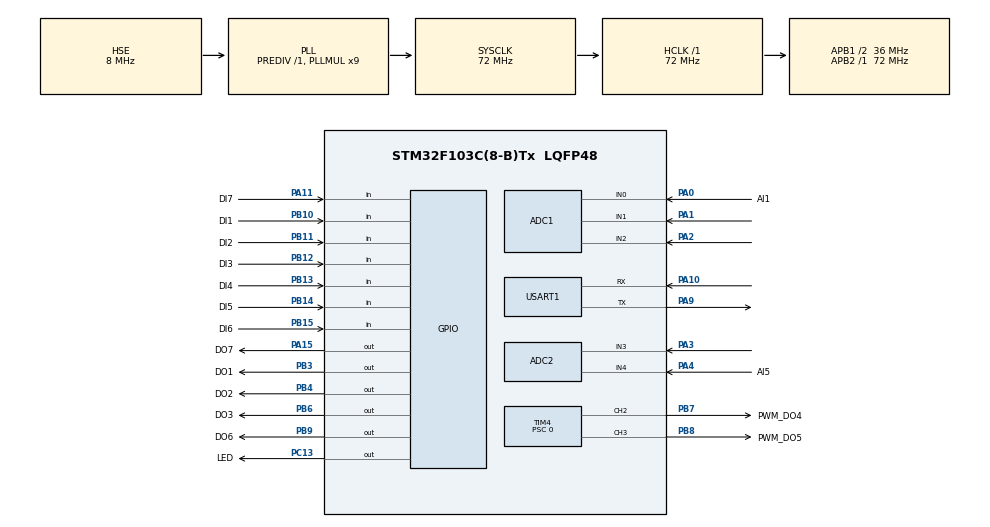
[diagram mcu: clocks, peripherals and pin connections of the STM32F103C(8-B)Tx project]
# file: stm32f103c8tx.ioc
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ADC1.Channel-7\#ChannelInjectedConversion=ADC_CHANNEL_0
ADC1.Channel-8\#ChannelInjectedConversion=ADC_CHANNEL_1
ADC1.Channel-9\#ChannelInjectedConversion=ADC_CHANNEL_2
ADC1.ContinuousConvMode=ENABLE
ADC1.EnableInjectedConversion=ENABLE
ADC1.EnableRegularConversion=DISABLE
ADC1.InjNumberOfConversion=3
ADC1.InjectedOffset-7\#ChannelInjectedConversion=0
ADC1.InjectedOffset-8\#ChannelInjectedConversion=0
ADC1.InjectedOffset-9\#ChannelInjectedConversion=0
ADC1.Rank-7\#ChannelInjectedConversion=1
ADC1.Rank-8\#ChannelInjectedConversion=2
ADC1.Rank-9\#ChannelInjectedConversion=3
ADC1.SamplingTime-7\#ChannelInjectedConversion=ADC_SAMPLETIME_13CYCLES_5
ADC1.SamplingTime-8\#ChannelInjectedConversion=ADC_SAMPLETIME_13CYCLES_5
ADC1.SamplingTime-9\#ChannelInjectedConversion=ADC_SAMPLETIME_13CYCLES_5
ADC1.master=1
ADC2.Channel-1\#ChannelInjectedConversion=ADC_CHANNEL_3
ADC2.Channel-2\#ChannelInjectedConversion=ADC_CHANNEL_4
ADC2.ContinuousConvMode=ENABLE
ADC2.EnableInjectedConversion=ENABLE
ADC2.EnableRegularConversion=DISABLE
ADC2.InjNumberOfConversion=2
ADC2.InjectedOffset-1\#ChannelInjectedConversion=0
ADC2.InjectedOffset-2\#ChannelInjectedConversion=0
ADC2.Rank-1\#ChannelInjectedConversion=1
ADC2.Rank-2\#ChannelInjectedConversion=2
ADC2.SamplingTime-1\#ChannelInjectedConversion=ADC_SAMPLETIME_13CYCLES_5
ADC2.SamplingTime-2\#ChannelInjectedConversion=ADC_SAMPLETIME_13CYCLES_5
FREERTOS.Tasks01=defaultTask,24,128,StartDefaultTask,Default,NULL,Dynamic,NULL,NULL;myTaskGpio,8,128,StartTask02,Default,NULL,Dynamic,NULL,NULL
Mcu.Family=STM32F1
Mcu.Name=STM32F103C(8-B)Tx
Mcu.Package=LQFP48
NVIC.PriorityGroup=NVIC_PRIORITYGROUP_4
NVIC.TIM1_CC_IRQn=true\:5\:0\:false\:false\:true\:true\:true\:true
NVIC.TIM1_UP_IRQn=true\:5\:0\:false\:false\:true\:true\:true\:true
NVIC.TIM2_IRQn=true\:0\:0\:false\:false\:true\:false\:false\:true
NVIC.TIM4_IRQn=true\:5\:0\:false\:false\:true\:true\:true\:true
NVIC.TimeBase=TIM2_IRQn
NVIC.TimeBaseIP=TIM2
NVIC.USART1_IRQn=true\:5\:0\:false\:false\:true\:true\:true\:true
PA0-WKUP.GPIO_Label=AI1
PA0-WKUP.Signal=ADCx_IN0
PA1.Signal=ADCx_IN1
PA10.Mode=Asynchronous
PA10.Signal=USART1_RX
PA11.GPIO_Label=DI7
PA11.Signal=GPIO_Input
PA13.Mode=Serial_Wire
PA13.Signal=SYS_JTMS-SWDIO
PA14.Mode=Serial_Wire
PA14.Signal=SYS_JTCK-SWCLK
PA15.GPIO_Label=DO7
PA15.Signal=GPIO_Output
PA2.Signal=ADCx_IN2
PA3.Signal=ADCx_IN3
PA4.GPIO_Label=AI5
PA4.Signal=ADCx_IN4
PA9.Mode=Asynchronous
PA9.Signal=USART1_TX
PB10.GPIO_Label=DI1
PB10.Signal=GPIO_Input
PB11.GPIO_Label=DI2
PB11.Signal=GPIO_Input
PB12.GPIO_Label=DI3
PB12.Signal=GPIO_Input
PB13.GPIO_Label=DI4
PB13.Signal=GPIO_Input
PB14.GPIO_Label=DI5
PB14.Signal=GPIO_Input
PB15.GPIO_Label=DI6
PB15.Signal=GPIO_Input
PB3.GPIO_Label=DO1
PB3.Signal=GPIO_Output
PB4.GPIO_Label=DO2
PB4.Signal=GPIO_Output
PB6.GPIO_Label=DO3
PB6.Signal=GPIO_Output
PB7.GPIO_Label=PWM_DO4
PB7.GPIO_Speed=GPIO_SPEED_FREQ_HIGH
PB7.Signal=S_TIM4_CH2
PB8.GPIO_Label=PWM_DO5
PB8.GPIO_Speed=GPIO_SPEED_FREQ_HIGH
PB8.Signal=S_TIM4_CH3
PB9.GPIO_Label=DO6
PB9.Signal=GPIO_Output
PC13-TAMPER-RTC.GPIO_Label=LED
PC13-TAMPER-RTC.Signal=GPIO_Output
PD0-OSC_IN.Mode=HSE-External-Oscillator
PD0-OSC_IN.Signal=RCC_OSC_IN
PD1-OSC_OUT.Mode=HSE-External-Oscillator
PD1-OSC_OUT.Signal=RCC_OSC_OUT
ProjectManager.HeapSize=0x200
ProjectManager.StackSize=0x400
ProjectManager.TargetToolchain=TrueSTUDIO
RCC.ADCPresc=RCC_ADCPCLK2_DIV6
RCC.AHBFreq_Value=72000000
RCC.APB1CLKDivider=RCC_HCLK_DIV2
RCC.APB1Freq_Value=36000000
RCC.APB1TimFreq_Value=72000000
RCC.APB2Freq_Value=72000000
RCC.APB2TimFreq_Value=72000000
RCC.HCLKFreq_Value=72000000
RCC.PLLMUL=RCC_PLL_MUL9
RCC.PLLSourceVirtual=RCC_PLLSOURCE_HSE
RCC.SYSCLKFreq_VALUE=72000000
RCC.SYSCLKSource=RCC_SYSCLKSOURCE_PLLCLK
RCC.USBFreq_Value=72000000
SH.ADCx_IN0.0=ADC1_IN0,IN0
SH.ADCx_IN1.0=ADC1_IN1,IN1
SH.ADCx_IN2.0=ADC1_IN2,IN2
SH.ADCx_IN3.0=ADC2_IN3,IN3
SH.ADCx_IN4.0=ADC2_IN4,IN4
SH.S_TIM4_CH2.0=TIM4_CH2,PWM Generation2 CH2
SH.S_TIM4_CH3.0=TIM4_CH3,PWM Generation3 CH3
TIM1.Channel-Output\ Compare1\ No\ Output=TIM_CHANNEL_1
TIM1.Period=9999
TIM1.Prescaler=7199
TIM4.AutoReloadPreload=TIM_AUTORELOAD_PRELOAD_DISABLE
TIM4.Channel-PWM\ Generation2\ CH2=TIM_CHANNEL_2
TIM4.Channel-PWM\ Generation3\ CH3=TIM_CHANNEL_3
TIM4.ClockDivision=TIM_CLOCKDIVISION_DIV1
TIM4.CounterMode=TIM_COUNTERMODE_CENTERALIGNED2
TIM4.OC3Preload_PWM=ENABLE
TIM4.OCMode_PWM-PWM\ Generation2\ CH2=TIM_OCMODE_PWM1
TIM4.OCMode_PWM-PWM\ Generation3\ CH3=TIM_OCMODE_PWM2
TIM4.OCPolarity_2=TIM_OCPOLARITY_LOW
TIM4.OCPolarity_3=TIM_OCPOLARITY_LOW
TIM4.Period=599
TIM4.Prescaler=0
TIM4.Pulse-PWM\ Generation2\ CH2=600
TIM4.Pulse-PWM\ Generation3\ CH3=0
USART1.VirtualMode=VM_ASYNC
VP_FREERTOS_VS_CMSIS_V2.Mode=CMSIS_V2
VP_SYS_VS_tim2.Mode=TIM2
VP_TIM1_VS_ClockSourceINT.Mode=Internal
VP_TIM1_VS_no_output1.Mode=Output Compare1 No Output
VP_TIM4_VS_ClockSourceINT.Mode=Internal
board=custom

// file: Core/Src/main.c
/* USER CODE BEGIN Header */
/**
  ******************************************************************************
  * @file           : main.c
  * @brief          : Main program body
  ******************************************************************************
  * @attention
  *
  * <h2><center>&copy; Copyright (c) 2021 STMicroelectronics.
  * All rights reserved.</center></h2>
  *
  * This software component is licensed by ST under Ultimate Liberty license
  * SLA0044, the "License"; You may not use this file except in compliance with
  * the License. You may obtain a copy of the License at:
  *                             www.st.com/SLA0044
  *
  ******************************************************************************
  */
/* USER CODE END Header */
#include "main.h"
#include "cmsis_os.h"

ADC_HandleTypeDef hadc1;
ADC_HandleTypeDef hadc2;

TIM_HandleTypeDef htim1;
TIM_HandleTypeDef htim4;

UART_HandleTypeDef huart1;

/* Definitions for defaultTask */
osThreadId_t defaultTaskHandle;
const osThreadAttr_t defaultTask_attributes = {
  .name = "defaultTask",
  .stack_size = 128 * 4,
  .priority = (osPriority_t) osPriorityNormal,
};
/* Definitions for myTaskGpio */
osThreadId_t myTaskGpioHandle;
const osThreadAttr_t myTaskGpio_attributes = {
  .name = "myTaskGpio",
  .stack_size = 128 * 4,
  .priority = (osPriority_t) osPriorityLow,
};
/* USER CODE BEGIN PV */
//ПЕРЕМЕННЫЕ

modbusHandler_t ModbusH;
uint16_t ModbusDATA[10];
uint16_t shim=0;
uint16_t counter_pwm=600;
const uint16_t  i_nakal_min=3000,
				i4=0,
				u_dc_min=2980,
				u_dc_max=3350,
				t1=1860;
_Bool adc_enable=false;
//регистр модбас код ошибки
/* USER CODE END PV */

void SystemClock_Config(void);
static void MX_GPIO_Init(void);
static void MX_TIM4_Init(void);
static void MX_USART1_UART_Init(void);
static void MX_ADC1_Init(void);
static void MX_ADC2_Init(void);
static void MX_TIM1_Init(void);
void StartDefaultTask(void *argument);
void StartTask02(void *argument);

int main(void)
{

  /* MCU Configuration--------------------------------------------------------*/

  /* Reset of all peripherals, Initializes the Flash interface and the Systick. */
  HAL_Init();

  /* Configure the system clock */
  SystemClock_Config();

  /* Initialize all configured peripherals */
  MX_GPIO_Init();
  MX_TIM4_Init();
  MX_USART1_UART_Init();
  MX_ADC1_Init();
  MX_ADC2_Init();
  MX_TIM1_Init();
  /* USER CODE BEGIN 2 */
  //ИНИЦИАЛИЗАЦИЯ
  ModbusH.uiModbusType = SLAVE_RTU;
  ModbusH.port =  &huart1;
  ModbusH.u8id = 01; //Modbus slave ID
  ModbusH.u16timeOut = 1000;
  ModbusH.EN_Port = NULL;
  ModbusH.u32overTime = 0;
  ModbusH.au16regs = ModbusDATA;
  ModbusH.u16regsize= sizeof(ModbusDATA)/sizeof(ModbusDATA[0]);
  //Initialize Modbus library
  ModbusInit(&ModbusH);
  //Start capturing traffic on serial Port
  ModbusStart(&ModbusH);

  HAL_GPIO_WritePin(DO6_GPIO_Port, DO6_Pin, GPIO_PIN_SET);
  HAL_GPIO_WritePin(GPIOC, GPIO_PIN_13,GPIO_PIN_RESET);
  HAL_Delay(1000);
  HAL_GPIO_WritePin(GPIOC, GPIO_PIN_13,GPIO_PIN_SET);
  HAL_GPIO_WritePin(DO6_GPIO_Port, DO6_Pin, GPIO_PIN_RESET);

  HAL_TIM_OC_Start_IT(&htim4, TIM_CHANNEL_2);
  HAL_TIM_OC_Start_IT(&htim4, TIM_CHANNEL_3);
  HAL_ADCEx_Calibration_Start(&hadc1);
  HAL_ADCEx_Calibration_Start(&hadc2);
  /* USER CODE END 2 */

  /* Init scheduler */
  osKernelInitialize();

  /* Create the thread(s) */
  /* creation of defaultTask */
  defaultTaskHandle = osThreadNew(StartDefaultTask, NULL, &defaultTask_attributes);

  /* creation of myTaskGpio */
  myTaskGpioHandle = osThreadNew(StartTask02, NULL, &myTaskGpio_attributes);

  /* Start scheduler */
  osKernelStart();

  /* We should never get here as control is now taken by the scheduler */
  /* Infinite loop */
  while (1)
  {

  }
}

void SystemClock_Config(void)
{
  RCC_OscInitTypeDef RCC_OscInitStruct = {0};
  RCC_ClkInitTypeDef RCC_ClkInitStruct = {0};
  RCC_PeriphCLKInitTypeDef PeriphClkInit = {0};

  /** Initializes the RCC Oscillators according to the specified parameters
  * in the RCC_OscInitTypeDef structure.
  */
  RCC_OscInitStruct.OscillatorType = RCC_OSCILLATORTYPE_HSE;
  RCC_OscInitStruct.HSEState = RCC_HSE_ON;
  RCC_OscInitStruct.HSEPredivValue = RCC_HSE_PREDIV_DIV1;
  RCC_OscInitStruct.HSIState = RCC_HSI_ON;
  RCC_OscInitStruct.PLL.PLLState = RCC_PLL_ON;
  RCC_OscInitStruct.PLL.PLLSource = RCC_PLLSOURCE_HSE;
  RCC_OscInitStruct.PLL.PLLMUL = RCC_PLL_MUL9;
  if (HAL_RCC_OscConfig(&RCC_OscInitStruct) != HAL_OK)
  {
    Error_Handler();
  }
  /** Initializes the CPU, AHB and APB buses clocks
  */
  RCC_ClkInitStruct.ClockType = RCC_CLOCKTYPE_HCLK|RCC_CLOCKTYPE_SYSCLK
                              |RCC_CLOCKTYPE_PCLK1|RCC_CLOCKTYPE_PCLK2;
  RCC_ClkInitStruct.SYSCLKSource = RCC_SYSCLKSOURCE_PLLCLK;
  RCC_ClkInitStruct.AHBCLKDivider = RCC_SYSCLK_DIV1;
  RCC_ClkInitStruct.APB1CLKDivider = RCC_HCLK_DIV2;
  RCC_ClkInitStruct.APB2CLKDivider = RCC_HCLK_DIV1;

  if (HAL_RCC_ClockConfig(&RCC_ClkInitStruct, FLASH_LATENCY_2) != HAL_OK)
  {
    Error_Handler();
  }
  PeriphClkInit.PeriphClockSelection = RCC_PERIPHCLK_ADC;
  PeriphClkInit.AdcClockSelection = RCC_ADCPCLK2_DIV6;
  if (HAL_RCCEx_PeriphCLKConfig(&PeriphClkInit) != HAL_OK)
  {
    Error_Handler();
  }
}

static void MX_ADC1_Init(void)
{

  ADC_InjectionConfTypeDef sConfigInjected = {0};

  /** Common config
  */
  hadc1.Instance = ADC1;
  hadc1.Init.ScanConvMode = ADC_SCAN_ENABLE;
  hadc1.Init.ContinuousConvMode = ENABLE;
  hadc1.Init.DiscontinuousConvMode = DISABLE;
  hadc1.Init.ExternalTrigConv = ADC_SOFTWARE_START;
  hadc1.Init.DataAlign = ADC_DATAALIGN_RIGHT;
  hadc1.Init.NbrOfConversion = 1;
  if (HAL_ADC_Init(&hadc1) != HAL_OK)
  {
    Error_Handler();
  }
  /** Configure Injected Channel
  */
  sConfigInjected.InjectedChannel = ADC_CHANNEL_0;
  sConfigInjected.InjectedRank = ADC_INJECTED_RANK_1;
  sConfigInjected.InjectedNbrOfConversion = 3;
  sConfigInjected.InjectedSamplingTime = ADC_SAMPLETIME_13CYCLES_5;
  sConfigInjected.ExternalTrigInjecConv = ADC_INJECTED_SOFTWARE_START;
  sConfigInjected.AutoInjectedConv = DISABLE;
  sConfigInjected.InjectedDiscontinuousConvMode = DISABLE;
  sConfigInjected.InjectedOffset = 0;
  if (HAL_ADCEx_InjectedConfigChannel(&hadc1, &sConfigInjected) != HAL_OK)
  {
    Error_Handler();
  }
  /** Configure Injected Channel
  */
  sConfigInjected.InjectedChannel = ADC_CHANNEL_1;
  sConfigInjected.InjectedRank = ADC_INJECTED_RANK_2;
  if (HAL_ADCEx_InjectedConfigChannel(&hadc1, &sConfigInjected) != HAL_OK)
  {
    Error_Handler();
  }
  /** Configure Injected Channel
  */
  sConfigInjected.InjectedChannel = ADC_CHANNEL_2;
  sConfigInjected.InjectedRank = ADC_INJECTED_RANK_3;
  if (HAL_ADCEx_InjectedConfigChannel(&hadc1, &sConfigInjected) != HAL_OK)
  {
    Error_Handler();
  }

}

static void MX_ADC2_Init(void)
{

  ADC_InjectionConfTypeDef sConfigInjected = {0};

  /** Common config
  */
  hadc2.Instance = ADC2;
  hadc2.Init.ScanConvMode = ADC_SCAN_ENABLE;
  hadc2.Init.ContinuousConvMode = ENABLE;
  hadc2.Init.DiscontinuousConvMode = DISABLE;
  hadc2.Init.ExternalTrigConv = ADC_SOFTWARE_START;
  hadc2.Init.DataAlign = ADC_DATAALIGN_RIGHT;
  hadc2.Init.NbrOfConversion = 1;
  if (HAL_ADC_Init(&hadc2) != HAL_OK)
  {
    Error_Handler();
  }
  /** Configure Injected Channel
  */
  sConfigInjected.InjectedChannel = ADC_CHANNEL_3;
  sConfigInjected.InjectedRank = ADC_INJECTED_RANK_1;
  sConfigInjected.InjectedNbrOfConversion = 2;
  sConfigInjected.InjectedSamplingTime = ADC_SAMPLETIME_13CYCLES_5;
  sConfigInjected.ExternalTrigInjecConv = ADC_INJECTED_SOFTWARE_START;
  sConfigInjected.AutoInjectedConv = DISABLE;
  sConfigInjected.InjectedDiscontinuousConvMode = DISABLE;
  sConfigInjected.InjectedOffset = 0;
  if (HAL_ADCEx_InjectedConfigChannel(&hadc2, &sConfigInjected) != HAL_OK)
  {
    Error_Handler();
  }
  /** Configure Injected Channel
  */
  sConfigInjected.InjectedChannel = ADC_CHANNEL_4;
  sConfigInjected.InjectedRank = ADC_INJECTED_RANK_2;
  if (HAL_ADCEx_InjectedConfigChannel(&hadc2, &sConfigInjected) != HAL_OK)
  {
    Error_Handler();
  }

}

static void MX_TIM1_Init(void)
{

  TIM_ClockConfigTypeDef sClockSourceConfig = {0};
  TIM_MasterConfigTypeDef sMasterConfig = {0};
  TIM_OC_InitTypeDef sConfigOC = {0};
  TIM_BreakDeadTimeConfigTypeDef sBreakDeadTimeConfig = {0};

  htim1.Instance = TIM1;
  htim1.Init.Prescaler = 7199;
  htim1.Init.CounterMode = TIM_COUNTERMODE_UP;
  htim1.Init.Period = 9999;
  htim1.Init.ClockDivision = TIM_CLOCKDIVISION_DIV1;
  htim1.Init.RepetitionCounter = 0;
  htim1.Init.AutoReloadPreload = TIM_AUTORELOAD_PRELOAD_DISABLE;
  if (HAL_TIM_Base_Init(&htim1) != HAL_OK)
  {
    Error_Handler();
  }
  sClockSourceConfig.ClockSource = TIM_CLOCKSOURCE_INTERNAL;
  if (HAL_TIM_ConfigClockSource(&htim1, &sClockSourceConfig) != HAL_OK)
  {
    Error_Handler();
  }
  if (HAL_TIM_OC_Init(&htim1) != HAL_OK)
  {
    Error_Handler();
  }
  sMasterConfig.MasterOutputTrigger = TIM_TRGO_RESET;
  sMasterConfig.MasterSlaveMode = TIM_MASTERSLAVEMODE_DISABLE;
  if (HAL_TIMEx_MasterConfigSynchronization(&htim1, &sMasterConfig) != HAL_OK)
  {
    Error_Handler();
  }
  sConfigOC.OCMode = TIM_OCMODE_TIMING;
  sConfigOC.Pulse = 0;
  sConfigOC.OCPolarity = TIM_OCPOLARITY_HIGH;
  sConfigOC.OCNPolarity = TIM_OCNPOLARITY_HIGH;
  sConfigOC.OCFastMode = TIM_OCFAST_DISABLE;
  sConfigOC.OCIdleState = TIM_OCIDLESTATE_RESET;
  sConfigOC.OCNIdleState = TIM_OCNIDLESTATE_RESET;
  if (HAL_TIM_OC_ConfigChannel(&htim1, &sConfigOC, TIM_CHANNEL_1) != HAL_OK)
  {
    Error_Handler();
  }
  sBreakDeadTimeConfig.OffStateRunMode = TIM_OSSR_DISABLE;
  sBreakDeadTimeConfig.OffStateIDLEMode = TIM_OSSI_DISABLE;
  sBreakDeadTimeConfig.LockLevel = TIM_LOCKLEVEL_OFF;
  sBreakDeadTimeConfig.DeadTime = 0;
  sBreakDeadTimeConfig.BreakState = TIM_BREAK_DISABLE;
  sBreakDeadTimeConfig.BreakPolarity = TIM_BREAKPOLARITY_HIGH;
  sBreakDeadTimeConfig.AutomaticOutput = TIM_AUTOMATICOUTPUT_DISABLE;
  if (HAL_TIMEx_ConfigBreakDeadTime(&htim1, &sBreakDeadTimeConfig) != HAL_OK)
  {
    Error_Handler();
  }

}

static void MX_TIM4_Init(void)
{

  TIM_ClockConfigTypeDef sClockSourceConfig = {0};
  TIM_MasterConfigTypeDef sMasterConfig = {0};
  TIM_OC_InitTypeDef sConfigOC = {0};

  htim4.Instance = TIM4;
  htim4.Init.Prescaler = 0;
  htim4.Init.CounterMode = TIM_COUNTERMODE_CENTERALIGNED2;
  htim4.Init.Period = 599;
  htim4.Init.ClockDivision = TIM_CLOCKDIVISION_DIV1;
  htim4.Init.AutoReloadPreload = TIM_AUTORELOAD_PRELOAD_DISABLE;
  if (HAL_TIM_Base_Init(&htim4) != HAL_OK)
  {
    Error_Handler();
  }
  sClockSourceConfig.ClockSource = TIM_CLOCKSOURCE_INTERNAL;
  if (HAL_TIM_ConfigClockSource(&htim4, &sClockSourceConfig) != HAL_OK)
  {
    Error_Handler();
  }
  if (HAL_TIM_PWM_Init(&htim4) != HAL_OK)
  {
    Error_Handler();
  }
  sMasterConfig.MasterOutputTrigger = TIM_TRGO_RESET;
  sMasterConfig.MasterSlaveMode = TIM_MASTERSLAVEMODE_DISABLE;
  if (HAL_TIMEx_MasterConfigSynchronization(&htim4, &sMasterConfig) != HAL_OK)
  {
    Error_Handler();
  }
  sConfigOC.OCMode = TIM_OCMODE_PWM1;
  sConfigOC.Pulse = 600;
  sConfigOC.OCPolarity = TIM_OCPOLARITY_LOW;
  sConfigOC.OCFastMode = TIM_OCFAST_DISABLE;
  if (HAL_TIM_PWM_ConfigChannel(&htim4, &sConfigOC, TIM_CHANNEL_2) != HAL_OK)
  {
    Error_Handler();
  }
  sConfigOC.OCMode = TIM_OCMODE_PWM2;
  sConfigOC.Pulse = 0;
  if (HAL_TIM_PWM_ConfigChannel(&htim4, &sConfigOC, TIM_CHANNEL_3) != HAL_OK)
  {
    Error_Handler();
  }
  HAL_TIM_MspPostInit(&htim4);

}

static void MX_USART1_UART_Init(void)
{

  huart1.Instance = USART1;
  huart1.Init.BaudRate = 115200;
  huart1.Init.WordLength = UART_WORDLENGTH_8B;
  huart1.Init.StopBits = UART_STOPBITS_1;
  huart1.Init.Parity = UART_PARITY_NONE;
  huart1.Init.Mode = UART_MODE_TX_RX;
  huart1.Init.HwFlowCtl = UART_HWCONTROL_NONE;
  huart1.Init.OverSampling = UART_OVERSAMPLING_16;
  if (HAL_UART_Init(&huart1) != HAL_OK)
  {
    Error_Handler();
  }

}

static void MX_GPIO_Init(void)
{
  GPIO_InitTypeDef GPIO_InitStruct = {0};

  /* GPIO Ports Clock Enable */
  __HAL_RCC_GPIOC_CLK_ENABLE();
  __HAL_RCC_GPIOD_CLK_ENABLE();
  __HAL_RCC_GPIOA_CLK_ENABLE();
  __HAL_RCC_GPIOB_CLK_ENABLE();

  /*Configure GPIO pin Output Level */
  HAL_GPIO_WritePin(LED_GPIO_Port, LED_Pin, GPIO_PIN_RESET);

  /*Configure GPIO pin Output Level */
  HAL_GPIO_WritePin(DO7_GPIO_Port, DO7_Pin, GPIO_PIN_RESET);

  /*Configure GPIO pin Output Level */
  HAL_GPIO_WritePin(GPIOB, DO1_Pin|DO2_Pin|DO3_Pin|DO6_Pin, GPIO_PIN_RESET);

  /*Configure GPIO pin : LED_Pin */
  GPIO_InitStruct.Pin = LED_Pin;
  GPIO_InitStruct.Mode = GPIO_MODE_OUTPUT_PP;
  GPIO_InitStruct.Pull = GPIO_NOPULL;
  GPIO_InitStruct.Speed = GPIO_SPEED_FREQ_LOW;
  HAL_GPIO_Init(LED_GPIO_Port, &GPIO_InitStruct);

  /*Configure GPIO pins : DI1_Pin DI2_Pin DI3_Pin DI4_Pin
                           DI5_Pin DI6_Pin */
  GPIO_InitStruct.Pin = DI1_Pin|DI2_Pin|DI3_Pin|DI4_Pin
                          |DI5_Pin|DI6_Pin;
  GPIO_InitStruct.Mode = GPIO_MODE_INPUT;
  GPIO_InitStruct.Pull = GPIO_NOPULL;
  HAL_GPIO_Init(GPIOB, &GPIO_InitStruct);

  /*Configure GPIO pin : DI7_Pin */
  GPIO_InitStruct.Pin = DI7_Pin;
  GPIO_InitStruct.Mode = GPIO_MODE_INPUT;
  GPIO_InitStruct.Pull = GPIO_NOPULL;
  HAL_GPIO_Init(DI7_GPIO_Port, &GPIO_InitStruct);

  /*Configure GPIO pin : DO7_Pin */
  GPIO_InitStruct.Pin = DO7_Pin;
  GPIO_InitStruct.Mode = GPIO_MODE_OUTPUT_PP;
  GPIO_InitStruct.Pull = GPIO_NOPULL;
  GPIO_InitStruct.Speed = GPIO_SPEED_FREQ_LOW;
  HAL_GPIO_Init(DO7_GPIO_Port, &GPIO_InitStruct);

  /*Configure GPIO pins : DO1_Pin DO2_Pin DO3_Pin DO6_Pin */
  GPIO_InitStruct.Pin = DO1_Pin|DO2_Pin|DO3_Pin|DO6_Pin;
  GPIO_InitStruct.Mode = GPIO_MODE_OUTPUT_PP;
  GPIO_InitStruct.Pull = GPIO_NOPULL;
  GPIO_InitStruct.Speed = GPIO_SPEED_FREQ_LOW;
  HAL_GPIO_Init(GPIOB, &GPIO_InitStruct);

}

void StartDefaultTask(void *argument)
{
  /* USER CODE BEGIN 5 */
  /* Infinite loop */
  for(;;)
  {
	  //если поступил запрос с modbus
	  	  if ( ModbusDATA[0] != 0 ) {
	  		  // проверка введенной команды и установка пинов
	  	  switch (ModbusDATA[0])
	  		  {
	  		  case 1: HAL_GPIO_WritePin(DO1_GPIO_Port, DO1_Pin, GPIO_PIN_SET);
	  				  break;
	  		  case 2: HAL_GPIO_WritePin(DO2_GPIO_Port, DO2_Pin, GPIO_PIN_SET);
	  				  break;
	  		  case 3: HAL_GPIO_WritePin(DO3_GPIO_Port, DO3_Pin, GPIO_PIN_SET);
	  				  break;
	  		  case 6: HAL_GPIO_WritePin(DO6_GPIO_Port, DO6_Pin, GPIO_PIN_SET);
	  				  break;
	  		  case 7: HAL_GPIO_WritePin(DO7_GPIO_Port, DO7_Pin, GPIO_PIN_SET);
	  				  break;
	  		 case 9:
	  			 TIM4->CCR2=counter_pwm;
	  		TIM4->CCR3=0;
	  		HAL_GPIO_WritePin(DO3_GPIO_Port, DO3_Pin, GPIO_PIN_RESET);
	  		HAL_GPIO_WritePin(DO2_GPIO_Port, DO2_Pin, GPIO_PIN_RESET);
	  		ModbusDATA[8]=0;
	  		HAL_GPIO_WritePin(DO6_GPIO_Port, DO6_Pin, GPIO_PIN_SET);
	  			  	break;

	  		case 11: HAL_GPIO_WritePin(DO1_GPIO_Port, DO1_Pin, GPIO_PIN_RESET);
	  			  	break;
	  		case 12: HAL_GPIO_WritePin(DO2_GPIO_Port, DO2_Pin, GPIO_PIN_RESET);
	  			  	break;
	  		case 13: HAL_GPIO_WritePin(DO3_GPIO_Port, DO3_Pin, GPIO_PIN_RESET);
	  			  	break;
	  		case 16: HAL_GPIO_WritePin(DO6_GPIO_Port, DO6_Pin, GPIO_PIN_RESET);
	  			  	break;
	  		case 17: HAL_GPIO_WritePin(DO7_GPIO_Port, DO7_Pin, GPIO_PIN_RESET);
	  			  	break;
	  		  case 111:
	  				  HAL_GPIO_WritePin(DO1_GPIO_Port, DO1_Pin, GPIO_PIN_RESET);
	  				  HAL_GPIO_WritePin(DO2_GPIO_Port, DO2_Pin, GPIO_PIN_RESET);
	  				  HAL_GPIO_WritePin(DO3_GPIO_Port, DO3_Pin, GPIO_PIN_RESET);
	  				  HAL_GPIO_WritePin(DO6_GPIO_Port, DO6_Pin, GPIO_PIN_RESET);
	  				  HAL_GPIO_WritePin(DO7_GPIO_Port, DO7_Pin, GPIO_PIN_RESET);
	  				  break;
	  		case 11111:
	  					//установка DO2
					  HAL_GPIO_WritePin(DO2_GPIO_Port, DO2_Pin, GPIO_PIN_SET);
					  osDelay(8000);
					  HAL_GPIO_WritePin(DO3_GPIO_Port, DO3_Pin, GPIO_PIN_SET);
					  osDelay(150);
					  HAL_GPIO_WritePin(DO1_GPIO_Port, DO1_Pin, GPIO_PIN_SET);
					  adc_enable=true;

	  				  break;
	  		  }
	  		  ModbusDATA[0]=0;
	  		  HAL_GPIO_TogglePin(GPIOC, GPIO_PIN_13);
	  	  }
	  	//управление скважностью ШИМ

			  if ( ModbusDATA[8] != shim ) {
				  if ( ModbusDATA[8]>45 ){
/*
					  TIM4->CCR2=(counter_pwm)-(counter_pwm/100)*45;
					  TIM4->CCR3=(counter_pwm/100)*45;
					  shim=45;*/
					  ModbusDATA[8]=45;
				  }
				  else{
					  while (shim<ModbusDATA[8]){
						  shim++;
						  if (shim>45){shim=45;}
						  TIM4->CCR2=(counter_pwm)-(counter_pwm/100)*shim;
						  TIM4->CCR3=(counter_pwm/100)*shim;
						  osDelay(1);
					  }
					  while (shim>ModbusDATA[8]){
						  shim--;
						  TIM4->CCR2=(counter_pwm)-(counter_pwm/100)*shim;
						  TIM4->CCR3=(counter_pwm/100)*shim;
						  osDelay(1);
					  }

				  }

/*
					  TIM4->CCR2=(counter_pwm)-(counter_pwm/100)*ModbusDATA[8];
					  TIM4->CCR3=(counter_pwm/100)*ModbusDATA[8];
*/
			  }
  	  	  	  if ((DI7_GPIO_Port->IDR & DI7_Pin)==0) {
  	  	  	TIM4->CCR2=counter_pwm;
  	  	  		TIM4->CCR3=0;
  	  	  		HAL_GPIO_WritePin(DO3_GPIO_Port, DO3_Pin, GPIO_PIN_RESET);
  	  	  		HAL_GPIO_WritePin(DO2_GPIO_Port, DO2_Pin, GPIO_PIN_RESET);
  	  	  		ModbusDATA[8]=0;
  	  	  		HAL_GPIO_WritePin(DO6_GPIO_Port, DO6_Pin, GPIO_PIN_SET);
			  }
    osDelay(1);
  }
  /* USER CODE END 5 */
}

void StartTask02(void *argument)
{
  /* USER CODE BEGIN StartTask02 */
  /* Infinite loop */
  for(;;)
  {
	  if ((DI7_GPIO_Port->IDR & DI7_Pin)==0){
		  TIM4->CCR2=counter_pwm;
		  	TIM4->CCR3=0;
		  	HAL_GPIO_WritePin(DO3_GPIO_Port, DO3_Pin, GPIO_PIN_RESET);
		  	HAL_GPIO_WritePin(DO2_GPIO_Port, DO2_Pin, GPIO_PIN_RESET);
		  	ModbusDATA[8]=0;
		  	HAL_GPIO_WritePin(DO6_GPIO_Port, DO6_Pin, GPIO_PIN_SET);
	  }

	//установка регистров в соответствии с состоянием пинов
		ModbusDATA[1]=	((DO1_GPIO_Port->IDR & DO1_Pin)!=0)|    //HAL_GPIO_ReadPin(DO1_GPIO_Port, DO1_Pin);
						((DO2_GPIO_Port->IDR & DO2_Pin)!=0)<<1| //HAL_GPIO_ReadPin(DO2_GPIO_Port, DO2_Pin);
						((DO3_GPIO_Port->IDR & DO3_Pin)!=0)<<2| //HAL_GPIO_ReadPin(DO3_GPIO_Port, DO3_Pin);
						//((DO4_GPIO_Port->IDR & DO4_Pin)!=0)<<3| //HAL_GPIO_ReadPin(DO4_GPIO_Port, DO4_Pin);
						//((DO5_GPIO_Port->IDR & DO5_Pin)!=0)<<4| //HAL_GPIO_ReadPin(DO5_GPIO_Port, DO5_Pin);
						((DO6_GPIO_Port->IDR & DO6_Pin)!=0)<<5| //HAL_GPIO_ReadPin(DO6_GPIO_Port, DO6_Pin);
						((DO7_GPIO_Port->IDR & DO7_Pin)!=0)<<6; //HAL_GPIO_ReadPin(DO7_GPIO_Port, DO7_Pin);

		ModbusDATA[2]=	((DI1_GPIO_Port->IDR & DI1_Pin)!=0)| 	//HAL_GPIO_ReadPin(DI1_GPIO_Port, DI1_Pin);
						((DI2_GPIO_Port->IDR & DI2_Pin)!=0)<<1| //HAL_GPIO_ReadPin(DI2_GPIO_Port, DI2_Pin);
						((DI3_GPIO_Port->IDR & DI3_Pin)!=0)<<2| //HAL_GPIO_ReadPin(DI3_GPIO_Port, DI3_Pin);
						((DI4_GPIO_Port->IDR & DI4_Pin)!=0)<<3| //HAL_GPIO_ReadPin(DI4_GPIO_Port, DI4_Pin);
						((DI5_GPIO_Port->IDR & DI5_Pin)!=0)<<4| //HAL_GPIO_ReadPin(DI5_GPIO_Port, DI5_Pin);
						((DI6_GPIO_Port->IDR & DI6_Pin)!=0)<<5| //HAL_GPIO_ReadPin(DI6_GPIO_Port, DI6_Pin);
						((DI7_GPIO_Port->IDR & DI7_Pin)!=0)<<6; //HAL_GPIO_ReadPin(DI7_GPIO_Port, DI7_Pin);

			  //управление частотой
			  /*
			  if ( ModbusDATA[9] != counter_pwm+1)
				  if ModbusDATA[9]>100{
				  counter_pwm+1=ModbusDATA[9];
			  htim4.Init.Period = 599;
				  }
			  HAL_TIM_OC_Start_IT(&htim4, TIM_CHANNEL_3);
		*/
		//ацп
	//if (adc_enable) {
		HAL_ADCEx_InjectedStart(&hadc1); // запускаем опрос инжект. каналов
		HAL_ADCEx_InjectedPollForConversion(&hadc1,100); // ждём окончания 100мс
		ModbusDATA[3]=HAL_ADCEx_InjectedGetValue(&hadc1, ADC_INJECTED_RANK_1);
		ModbusDATA[4]=HAL_ADCEx_InjectedGetValue(&hadc1, ADC_INJECTED_RANK_2);
		ModbusDATA[5]=HAL_ADCEx_InjectedGetValue(&hadc1, ADC_INJECTED_RANK_3);
		HAL_ADCEx_InjectedStart(&hadc2);
		HAL_ADCEx_InjectedPollForConversion(&hadc2,100);
		ModbusDATA[6]=HAL_ADCEx_InjectedGetValue(&hadc2, ADC_INJECTED_RANK_1);
		ModbusDATA[7]=HAL_ADCEx_InjectedGetValue(&hadc2, ADC_INJECTED_RANK_2);
	//}
	osDelay(1);
	/*
    xSemaphoreTake(ModbusH.ModBusSphrHandle , 100);
	HAL_GPIO_WritePin(LED_GPIO_Port, LED_Pin, ModbusH.au16regs[0] & 0x1);
	xSemaphoreGive(ModbusH.ModBusSphrHandle);
    osDelay(200);*/
  }
  /* USER CODE END StartTask02 */
}

 /**
  * @brief  Period elapsed callback in non blocking mode
  * @note   This function is called  when TIM2 interrupt took place, inside
  * HAL_TIM_IRQHandler(). It makes a direct call to HAL_IncTick() to increment
  * a global variable "uwTick" used as application time base.
  * @param  htim : TIM handle
  * @retval None
  */
void HAL_TIM_PeriodElapsedCallback(TIM_HandleTypeDef *htim)
{
  if (htim->Instance == TIM2) {
    HAL_IncTick();
  }
}

void Error_Handler(void)
{
  __disable_irq();
  while (1)
  {
  }
}

/************************ (C) COPYRIGHT STMicroelectronics *****END OF FILE****/
